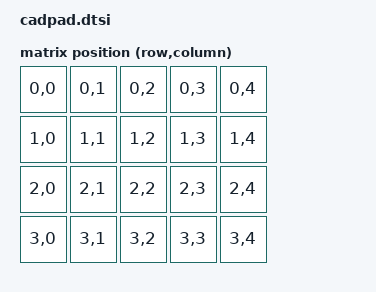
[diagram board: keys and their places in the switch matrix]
#include <dt-bindings/zmk/matrix_transform.h>

/ {
    chosen {
        zmk,physical-layout = &physical_layout0;
    };

    physical_layout0: physical_layout_0 {
        compatible = "zmk,physical-layout";
        display-name = "Default Layout";
        kscan = <&kscan0>;
        transform = <&default_transform>;
    };

    default_transform: keymap_transform_0 {
        compatible = "zmk,matrix-transform";
        columns = <5>; // Length of the "col-gpios" array
        rows = <4>; // Length of the "row-gpios" array
        map = <
        //   Key 1 | Key 2 | Key 3
            RC(0,0) RC(0,1) RC(0,2) RC(0,3) RC(0,4)
        //   Key 4 | Key 5 | Key 6
            RC(1,0) RC(1,1) RC(1,2) RC(1,3) RC(1,4)
        //   Key 7 | Key 8 | Key 9
            RC(2,0) RC(2,1) RC(2,2) RC(2,3) RC(2,4)
    
            RC(3,0) RC(3,1) RC(3,2) RC(3,3) RC(3,4)
        >;
    };

    kscan0: kscan {
        compatible = "zmk,kscan-gpio-matrix";
        wakeup-source;
    };
};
